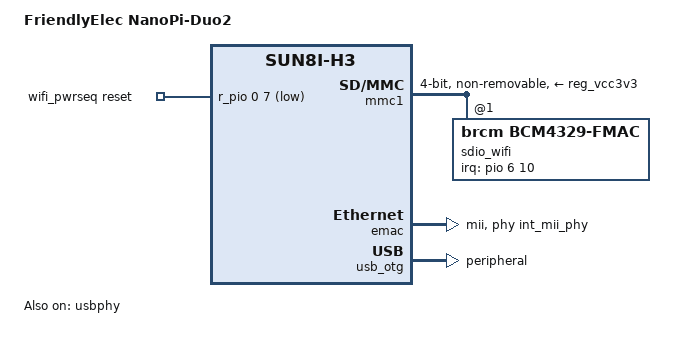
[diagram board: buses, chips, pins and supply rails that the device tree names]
/* $NetBSD: sun8i-h3-nanopi-duo2.dts,v 1.1.10.2 2020/04/13 08:03:33 martin Exp $ */

/*
 * Copyright (C) 2019 Igor <igor@armbian.com>
 *
 * This file is dual-licensed: you can use it either under the terms
 * of the GPL or the X11 license, at your option. Note that this dual
 * licensing only applies to this file, and not this project as a
 * whole.
 *
 *  a) This file is free software; you can redistribute it and/or
 *     modify it under the terms of the GNU General Public License as
 *     published by the Free Software Foundation; either version 2 of the
 *     License, or (at your option) any later version.
 *
 *     This file is distributed in the hope that it will be useful,
 *     but WITHOUT ANY WARRANTY; without even the implied warranty of
 *     MERCHANTABILITY or FITNESS FOR A PARTICULAR PURPOSE.  See the
 *     GNU General Public License for more details.
 *
 * Or, alternatively,
 *
 *  b) Permission is hereby granted, free of charge, to any person
 *     obtaining a copy of this software and associated documentation
 *     files (the "Software"), to deal in the Software without
 *     restriction, including without limitation the rights to use,
 *     copy, modify, merge, publish, distribute, sublicense, and/or
 *     sell copies of the Software, and to permit persons to whom the
 *     Software is furnished to do so, subject to the following
 *     conditions:
 *
 *     The above copyright notice and this permission notice shall be
 *     included in all copies or substantial portions of the Software.
 *
 *     THE SOFTWARE IS PROVIDED "AS IS", WITHOUT WARRANTY OF ANY KIND,
 *     EXPRESS OR IMPLIED, INCLUDING BUT NOT LIMITED TO THE WARRANTIES
 *     OF MERCHANTABILITY, FITNESS FOR A PARTICULAR PURPOSE AND
 *     NONINFRINGEMENT. IN NO EVENT SHALL THE AUTHORS OR COPYRIGHT
 *     HOLDERS BE LIABLE FOR ANY CLAIM, DAMAGES OR OTHER LIABILITY,
 *     WHETHER IN AN ACTION OF CONTRACT, TORT OR OTHERWISE, ARISING
 *     FROM, OUT OF OR IN CONNECTION WITH THE SOFTWARE OR THE USE OR
 *     OTHER DEALINGS IN THE SOFTWARE.
 */

#include "sun8i-h3-nanopi.dtsi"

/ {
	model = "FriendlyElec NanoPi-Duo2";
	compatible = "friendlyarm,nanopi-duo2", "allwinner,sun8i-h3";

	wifi_pwrseq: wifi_pwrseq {
		compatible = "mmc-pwrseq-simple";
		pinctrl-names = "default";
		reset-gpios = <&r_pio 0 7 GPIO_ACTIVE_LOW>; /* PL7 */
		post-power-on-delay-ms = <200>;
	};

};

&r_pio {
	wifi_en_npi: wifi_en_pin {
		pins = "PL7";
		function = "gpio_out";
	};
};

&mmc1 {
	vmmc-supply = <&reg_vcc3v3>;
	vqmmc-supply = <&reg_vcc3v3>;
	mmc-pwrseq = <&wifi_pwrseq>;
	bus-width = <4>;
	non-removable;
	status = "okay";

	sdio_wifi: sdio_wifi@1 {
		reg = <1>;
		compatible = "brcm,bcm4329-fmac";
		interrupt-parent = <&pio>;
		interrupts = <6 10 IRQ_TYPE_LEVEL_LOW>; /* PG10 / EINT10 */
		interrupt-names = "host-wake";
	};

};

&emac {
	phy-handle = <&int_mii_phy>;
	phy-mode = "mii";
	allwinner,leds-active-low;
	status = "okay";
};

&usb_otg {
	dr_mode = "peripheral";
	status = "okay";
};

&usbphy {
	status = "okay";
};
